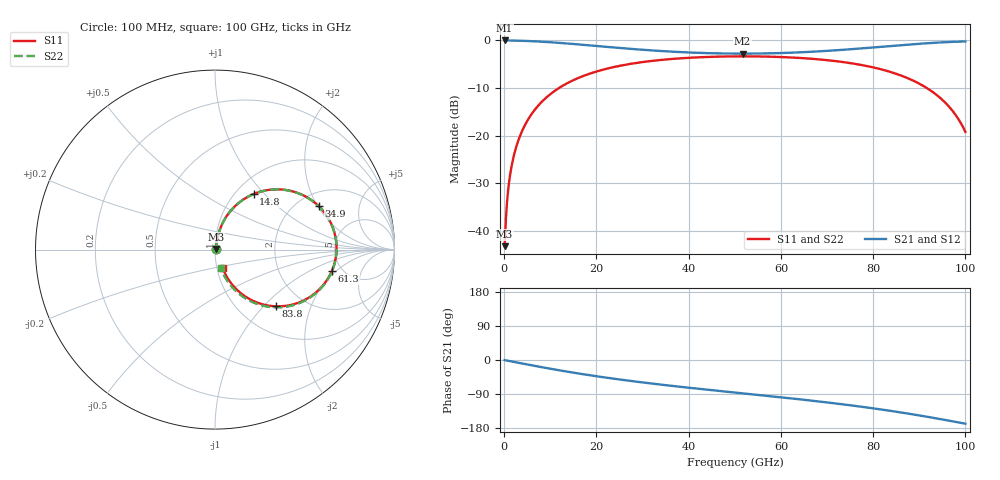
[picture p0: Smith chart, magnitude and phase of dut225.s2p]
! Touchstone file exported from HFSS 2026.1.0
!  File:  C:/ffzhzh/LocalFiles/Ansys_Project_Files/temp_train_RDL_225_1783501075_55944.aedt
!  Generated:  04:59:14 PM Jul  8, 2026
!  Design:  RDL
!  Project:  temp_train_RDL_225_1783501075_55944
! Variables:
!  h_bsmrdl = 2um
!  h_ox = 20um
!  h_rdl = 5um
!  h_sub = 80um
!  h_tmrdl = 2.3um
!  h_tsv = 80um
!  h_via = 3um
!  l_bsmrdl = 300um
!  l_sub = 962.48um
!  l_tmrdl = 562.48um
!  m_sub = 200um
!  pitch = 47.16um
!  r_tsv = 6um
!  s_tmrdl = 10um
!  w_bsmrdl = 18um
!  w_sub = 500um
!  w_tmrdl = 14.19um
!  x_tsv_center1 = 569.575um
!  x_tsv_center2 = 887.575um
!  x_tsv_center3 = 1464.245um
!  x_tsv_center4 = 1782.245um
!  x_tsv_center5 = 2358.915um
!  x_tsv_center6 = 2676.915um
# GHz S MA R 50.000000
! Terminal data exported
! Port[1] = TM_RDL1_1_T1
! Port[2] = TM_RDL1_1_T2
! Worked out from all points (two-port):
!   1000 points, 100 MHz to 100 GHz, reference 50 ohm
!   highest |S21| = -0.05 dB at 100 MHz (marker M1); lowest = -2.8 dB at 51.7 GHz (marker M2)
!   |S21| within 3 dB of the highest: start of sweep to end of sweep
!   lowest |S11| = -43.2 dB at 100 MHz (marker M3), VSWR 1.01, Z = 50.6 + j0.309 ohm
!   |S11| at or under -10 dB: start of sweep to 11.93 GHz; 91.58 GHz to end of sweep
!   |S22| runs from -43.2 to -3.4 dB; largest |S21 - S12| = 1.7e-14
!   S11 on the Smith chart (normalised r, x): 100 MHz: 1.01, +0.01; 14.8 GHz: 1.20, +0.87; 34.9 GHz: 2.57, +2.05; 61.3 GHz: 4.14, -1.75; 83.8 GHz: 1.46, -1.18; 100 GHz: 1.06, -0.22
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0.1  0.006919 26.2  0.9938 -0.2  0.9938 -0.2  0.006919 26.2
! Gamma 0 0 0 0
! Port Impedance 50 0 50 0
0.9  0.0277 73.1  0.9926 -2.2  0.9926 -2.2  0.0277 73.1
1.5  0.04457 76.7  0.9915 -3.6  0.9915 -3.6  0.04457 76.7
2.5  0.07274 77.8  0.9895 -6.0  0.9895 -6.0  0.07274 77.8
3.9  0.1119 76.5  0.9855 -9.2  0.9855 -9.2  0.112 76.5
5.8  0.164 73.3  0.9777 -13.6  0.9777 -13.6  0.164 73.3
8.2  0.2269 68.5  0.9643 -19.0  0.9643 -19.0  0.2269 68.5
14.8  0.3769 55.2  0.9143 -33.0  0.9143 -33.0  0.3769 55.2
16.8  0.4151 51.4  0.8973 -36.9  0.8973 -36.9  0.4151 51.4
24.3  0.5293 38.4  0.8348 -50.2  0.8348 -50.2  0.5294 38.3
33.4  0.6167 24.8  0.7735 -64.1  0.7735 -64.1  0.6168 24.6
34.9  0.6268 22.7  0.7656 -66.2  0.7656 -66.2  0.6269 22.5
50.1  0.6769 3.4  0.7234 -86.0  0.7234 -86.0  0.677 3.1
51.7  0.6774 1.5  0.723 -88.0  0.723 -88.0  0.6775 1.2
61.3  0.662 -10.3  0.7367 -100.1  0.7367 -100.1  0.6622 -10.7
66.7  0.6384 -17.3  0.7565 -107.3  0.7565 -107.3  0.6385 -17.8
83.4  0.47 -42.3  0.8655 -133.5  0.8655 -133.5  0.4701 -43.3
83.8  0.4638 -43.0  0.8687 -134.2  0.8687 -134.2  0.4638 -44.0
89.3  0.3645 -52.6  0.9118 -144.8  0.9118 -144.8  0.3643 -54.0
93.7  0.268 -60.4  0.9422 -154.0  0.9422 -154.0  0.2677 -62.5
97.1  0.1845 -65.7  0.9602 -161.5  0.9602 -161.5  0.1839 -68.8
100  0.1091 -67.4  0.9703 -168.1  0.9703 -168.1  0.1078 -72.7
